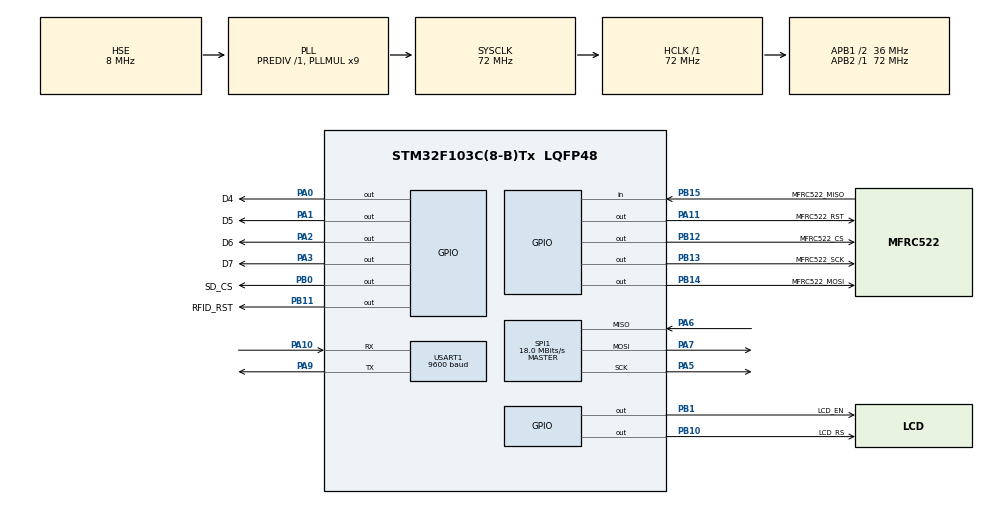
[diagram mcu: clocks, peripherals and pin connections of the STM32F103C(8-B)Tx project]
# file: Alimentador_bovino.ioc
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FATFS._FS_TINY=1
FATFS._MAX_SS=4096
FATFS._USE_LFN=1
Mcu.Family=STM32F1
Mcu.Name=STM32F103C(8-B)Tx
Mcu.Package=LQFP48
NVIC.PriorityGroup=NVIC_PRIORITYGROUP_4
PA0-WKUP.GPIO_Label=D4
PA0-WKUP.Signal=GPIO_Output
PA1.GPIO_Label=D5
PA1.Signal=GPIO_Output
PA10.Mode=Asynchronous
PA10.Signal=USART1_RX
PA11.GPIO_Label=MFRC522_RST
PA11.Signal=GPIO_Output
PA13.Mode=Serial_Wire
PA13.Signal=SYS_JTMS-SWDIO
PA14.Mode=Serial_Wire
PA14.Signal=SYS_JTCK-SWCLK
PA2.GPIO_Label=D6
PA2.Signal=GPIO_Output
PA3.GPIO_Label=D7
PA3.Signal=GPIO_Output
PA5.Mode=Full_Duplex_Master
PA5.Signal=SPI1_SCK
PA6.Mode=Full_Duplex_Master
PA6.Signal=SPI1_MISO
PA7.Mode=Full_Duplex_Master
PA7.Signal=SPI1_MOSI
PA9.Mode=Asynchronous
PA9.Signal=USART1_TX
PB0.GPIO_Label=SD_CS
PB0.Signal=GPIO_Output
PB1.GPIO_Label=LCD_EN
PB1.Signal=GPIO_Output
PB10.GPIO_Label=LCD_RS
PB10.Signal=GPIO_Output
PB11.GPIO_Label=RFID_RST
PB11.Signal=GPIO_Output
PB12.GPIO_Label=MFRC522_CS
PB12.Signal=GPIO_Output
PB13.GPIO_Label=MFRC522_SCK
PB13.Signal=GPIO_Output
PB14.GPIO_Label=MFRC522_MOSI
PB14.Signal=GPIO_Output
PB15.GPIO_Label=MFRC522_MISO
PB15.Signal=GPIO_Input
PC14-OSC32_IN.Mode=LSE-External-Oscillator
PC14-OSC32_IN.Signal=RCC_OSC32_IN
PC15-OSC32_OUT.Mode=LSE-External-Oscillator
PC15-OSC32_OUT.Signal=RCC_OSC32_OUT
PD0-OSC_IN.Mode=HSE-External-Oscillator
PD0-OSC_IN.Signal=RCC_OSC_IN
PD1-OSC_OUT.Mode=HSE-External-Oscillator
PD1-OSC_OUT.Signal=RCC_OSC_OUT
ProjectManager.HeapSize=0x200
ProjectManager.StackSize=0x400
ProjectManager.TargetToolchain=STM32CubeIDE
RCC.AHBFreq_Value=72000000
RCC.APB1CLKDivider=RCC_HCLK_DIV2
RCC.APB1Freq_Value=36000000
RCC.APB1TimFreq_Value=72000000
RCC.APB2Freq_Value=72000000
RCC.APB2TimFreq_Value=72000000
RCC.HCLKFreq_Value=72000000
RCC.PLLMUL=RCC_PLL_MUL9
RCC.PLLSourceVirtual=RCC_PLLSOURCE_HSE
RCC.SYSCLKFreq_VALUE=72000000
RCC.SYSCLKSource=RCC_SYSCLKSOURCE_PLLCLK
RCC.USBFreq_Value=72000000
RTC.Hours=9
RTC.Minutes=30
RTC.WeekDay=RTC_WEEKDAY_WEDNESDAY
SPI1.BaudRatePrescaler=SPI_BAUDRATEPRESCALER_4
SPI1.CalculateBaudRate=18.0 MBits/s
SPI1.Direction=SPI_DIRECTION_2LINES
SPI1.Mode=SPI_MODE_MASTER
SPI1.VirtualType=VM_MASTER
USART1.BaudRate=9600
USART1.VirtualMode=VM_ASYNC
VP_FATFS_VS_Generic.Mode=User_defined
VP_RTC_VS_RTC_Activate.Mode=RTC_Enabled
VP_RTC_VS_RTC_Calendar.Mode=RTC_Calendar
board=custom

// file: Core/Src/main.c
/* USER CODE BEGIN Header */
/**
  ******************************************************************************
  * @file           : main.c
  * @brief          : Main program body
  ******************************************************************************
  * @attention
  *
  * Copyright (c) 2023 STMicroelectronics.
  * All rights reserved.
  *
  * This software is licensed under terms that can be found in the LICENSE file
  * in the root directory of this software component.
  * If no LICENSE file comes with this software, it is provided AS-IS.
  *
  ******************************************************************************
  */
/* USER CODE END Header */
#include "main.h"
#include "fatfs.h"

/* USER CODE BEGIN Includes */
#include "fatfs_sd.h"
#include <stdio.h>
#include <stdlib.h>
#include <string.h>
#include "lcd.h"
#include "mfrc522.h"

/* USER CODE END Includes */

RTC_HandleTypeDef hrtc;

SPI_HandleTypeDef hspi1;

UART_HandleTypeDef huart1;

/* USER CODE BEGIN PV */
FATFS fs;  				// file system
FIL fil; 					// File
FILINFO fno;
FRESULT fresult;  // result
UINT br, bw;  		// File read/write count

/**** microSD capacity related *****/
FATFS *pfs;
DWORD fre_clust;

/*RFID*/
uint8_t UID[8];
uint8_t TagType;
char buf_tx[50];

/*Mis variables*/
char buffer[128];	//buffer to write/read in microSD
char arraydatos[128];
char buffer2[4096];
char arraydatos2[4096];
int imprimir=0;
char mostrar_var[6];
LCD_t lcd;
char tiempo[32]; //hora
int cont_lin=0; //contador de linea w
/* USER CODE END PV */

void SystemClock_Config(void);
static void MX_GPIO_Init(void);
static void MX_SPI1_Init(void);
static void MX_USART1_UART_Init(void);
static void MX_RTC_Init(void);
/* USER CODE BEGIN PFP */
static void bufclear(char *buf, uint16_t len);
//static void send_uart(char *string);
static void microSD_init(void);
//static void microSD_getSize(void);
static void microSD_put(char *name);
static void microSD_get(char *name);
void mostrarLCD(void);
void Alimentar(void);
void Identidicacion(void);
void Menu(void);
void hora(void);
/* USER CODE END PFP */

int main(void)
{
  /* USER CODE BEGIN 1 */
	int opcion1=0;
	int opcion2=0;

  /* USER CODE END 1 */

  /* MCU Configuration--------------------------------------------------------*/

  /* Reset of all peripherals, Initializes the Flash interface and the Systick. */
  HAL_Init();

  /* Configure the system clock */
  SystemClock_Config();

  /* Initialize all configured peripherals */
  MX_GPIO_Init();
  MX_SPI1_Init();
  MX_FATFS_Init();
  MX_USART1_UART_Init();
  MX_RTC_Init();
  /* USER CODE BEGIN 2 */

	// LCD SETTINGS ----------------------------------------------
	lcd.RS_port = LCD_RS_GPIO_Port;
	lcd.RS_pin = LCD_RS_Pin;
	//lcd.RW_port = LCD_RW_GPIO_Port;
	//lcd.RW_pin = LCD_RW_Pin;
	lcd.EN_port = LCD_EN_GPIO_Port;
	lcd.EN_pin = LCD_EN_Pin;
	lcd.D4_port = D4_GPIO_Port;
	lcd.D4_pin = D4_Pin;
	lcd.D5_port = D5_GPIO_Port;
	lcd.D5_pin = D5_Pin;
	lcd.D6_port = D6_GPIO_Port;
	lcd.D6_pin = D6_Pin;
	lcd.D7_port = D7_GPIO_Port;
	lcd.D7_pin = D7_Pin;
	//Inicializamos el LCD
	lcd_begin(&lcd, 16, 2, LCD_5x8DOTS);
	imprimir=1;
	mostrarLCD();
	//Inicializo microSD
	microSD_init();
	//Inicializo RFID
	MFRC522_Init();

  /* USER CODE END 2 */

  /* Infinite loop */
  /* USER CODE BEGIN WHILE */
  while (1)
  {
	  opcion1=1;
	  switch(opcion1){
	  /* Menu */
	  case 1:
		  	Alimentar();
		  	opcion1=2;
	  		break;
	  case 2:
		  HAL_Delay(1500);
		  opcion1=0;
	  		break;
	  	   }

	  switch(opcion2){
	  /* Configuraciones */
	  case 1:
	  		break;
	  case 2:
	  		break;
	  case 3:
	  		break;
	  case 4:
	  		break;
	  	    }
    /* USER CODE END WHILE */

  }
}

void SystemClock_Config(void)
{
  RCC_OscInitTypeDef RCC_OscInitStruct = {0};
  RCC_ClkInitTypeDef RCC_ClkInitStruct = {0};
  RCC_PeriphCLKInitTypeDef PeriphClkInit = {0};

  /** Initializes the RCC Oscillators according to the specified parameters
  * in the RCC_OscInitTypeDef structure.
  */
  RCC_OscInitStruct.OscillatorType = RCC_OSCILLATORTYPE_LSI|RCC_OSCILLATORTYPE_HSE;
  RCC_OscInitStruct.HSEState = RCC_HSE_ON;
  RCC_OscInitStruct.HSEPredivValue = RCC_HSE_PREDIV_DIV1;
  RCC_OscInitStruct.HSIState = RCC_HSI_ON;
  RCC_OscInitStruct.LSIState = RCC_LSI_ON;
  RCC_OscInitStruct.PLL.PLLState = RCC_PLL_ON;
  RCC_OscInitStruct.PLL.PLLSource = RCC_PLLSOURCE_HSE;
  RCC_OscInitStruct.PLL.PLLMUL = RCC_PLL_MUL9;
  if (HAL_RCC_OscConfig(&RCC_OscInitStruct) != HAL_OK)
  {
    Error_Handler();
  }

  /** Initializes the CPU, AHB and APB buses clocks
  */
  RCC_ClkInitStruct.ClockType = RCC_CLOCKTYPE_HCLK|RCC_CLOCKTYPE_SYSCLK
                              |RCC_CLOCKTYPE_PCLK1|RCC_CLOCKTYPE_PCLK2;
  RCC_ClkInitStruct.SYSCLKSource = RCC_SYSCLKSOURCE_PLLCLK;
  RCC_ClkInitStruct.AHBCLKDivider = RCC_SYSCLK_DIV1;
  RCC_ClkInitStruct.APB1CLKDivider = RCC_HCLK_DIV2;
  RCC_ClkInitStruct.APB2CLKDivider = RCC_HCLK_DIV1;

  if (HAL_RCC_ClockConfig(&RCC_ClkInitStruct, FLASH_LATENCY_2) != HAL_OK)
  {
    Error_Handler();
  }
  PeriphClkInit.PeriphClockSelection = RCC_PERIPHCLK_RTC;
  PeriphClkInit.RTCClockSelection = RCC_RTCCLKSOURCE_LSI;
  if (HAL_RCCEx_PeriphCLKConfig(&PeriphClkInit) != HAL_OK)
  {
    Error_Handler();
  }
}

static void MX_RTC_Init(void)
{

  RTC_TimeTypeDef sTime = {0};
  RTC_DateTypeDef DateToUpdate = {0};

  /** Initialize RTC Only
  */
  hrtc.Instance = RTC;
  hrtc.Init.AsynchPrediv = RTC_AUTO_1_SECOND;
  hrtc.Init.OutPut = RTC_OUTPUTSOURCE_ALARM;
  if (HAL_RTC_Init(&hrtc) != HAL_OK)
  {
    Error_Handler();
  }

  /* USER CODE BEGIN Check_RTC_BKUP */
  HAL_PWR_EnableBkUpAccess();
  /* USER CODE END Check_RTC_BKUP */

  /** Initialize RTC and set the Time and Date
  */
  sTime.Hours = 0x9;
  sTime.Minutes = 0x30;
  sTime.Seconds = 0x0;

  if (HAL_RTC_SetTime(&hrtc, &sTime, RTC_FORMAT_BCD) != HAL_OK)
  {
    Error_Handler();
  }
  DateToUpdate.WeekDay = RTC_WEEKDAY_WEDNESDAY;
  DateToUpdate.Month = RTC_MONTH_JANUARY;
  DateToUpdate.Date = 0x1;
  DateToUpdate.Year = 0x0;

  if (HAL_RTC_SetDate(&hrtc, &DateToUpdate, RTC_FORMAT_BCD) != HAL_OK)
  {
    Error_Handler();
  }

}

static void MX_SPI1_Init(void)
{

  /* SPI1 parameter configuration*/
  hspi1.Instance = SPI1;
  hspi1.Init.Mode = SPI_MODE_MASTER;
  hspi1.Init.Direction = SPI_DIRECTION_2LINES;
  hspi1.Init.DataSize = SPI_DATASIZE_8BIT;
  hspi1.Init.CLKPolarity = SPI_POLARITY_LOW;
  hspi1.Init.CLKPhase = SPI_PHASE_1EDGE;
  hspi1.Init.NSS = SPI_NSS_SOFT;
  hspi1.Init.BaudRatePrescaler = SPI_BAUDRATEPRESCALER_4;
  hspi1.Init.FirstBit = SPI_FIRSTBIT_MSB;
  hspi1.Init.TIMode = SPI_TIMODE_DISABLE;
  hspi1.Init.CRCCalculation = SPI_CRCCALCULATION_DISABLE;
  hspi1.Init.CRCPolynomial = 10;
  if (HAL_SPI_Init(&hspi1) != HAL_OK)
  {
    Error_Handler();
  }

}

static void MX_USART1_UART_Init(void)
{

  huart1.Instance = USART1;
  huart1.Init.BaudRate = 9600;
  huart1.Init.WordLength = UART_WORDLENGTH_8B;
  huart1.Init.StopBits = UART_STOPBITS_1;
  huart1.Init.Parity = UART_PARITY_NONE;
  huart1.Init.Mode = UART_MODE_TX_RX;
  huart1.Init.HwFlowCtl = UART_HWCONTROL_NONE;
  huart1.Init.OverSampling = UART_OVERSAMPLING_16;
  if (HAL_UART_Init(&huart1) != HAL_OK)
  {
    Error_Handler();
  }

}

static void MX_GPIO_Init(void)
{
  GPIO_InitTypeDef GPIO_InitStruct = {0};

  /* GPIO Ports Clock Enable */
  __HAL_RCC_GPIOC_CLK_ENABLE();
  __HAL_RCC_GPIOD_CLK_ENABLE();
  __HAL_RCC_GPIOA_CLK_ENABLE();
  __HAL_RCC_GPIOB_CLK_ENABLE();

  /*Configure GPIO pin Output Level */
  HAL_GPIO_WritePin(GPIOA, D4_Pin|D5_Pin|D6_Pin|D7_Pin
                          |MFRC522_RST_Pin, GPIO_PIN_RESET);

  /*Configure GPIO pin Output Level */
  HAL_GPIO_WritePin(GPIOB, SD_CS_Pin|LCD_EN_Pin|LCD_RS_Pin|RFID_RST_Pin
                          |MFRC522_CS_Pin|MFRC522_SCK_Pin|MFRC522_MOSI_Pin, GPIO_PIN_RESET);

  /*Configure GPIO pins : D4_Pin D5_Pin D6_Pin D7_Pin
                           MFRC522_RST_Pin */
  GPIO_InitStruct.Pin = D4_Pin|D5_Pin|D6_Pin|D7_Pin
                          |MFRC522_RST_Pin;
  GPIO_InitStruct.Mode = GPIO_MODE_OUTPUT_PP;
  GPIO_InitStruct.Pull = GPIO_NOPULL;
  GPIO_InitStruct.Speed = GPIO_SPEED_FREQ_LOW;
  HAL_GPIO_Init(GPIOA, &GPIO_InitStruct);

  /*Configure GPIO pins : SD_CS_Pin LCD_EN_Pin LCD_RS_Pin RFID_RST_Pin
                           MFRC522_CS_Pin MFRC522_SCK_Pin MFRC522_MOSI_Pin */
  GPIO_InitStruct.Pin = SD_CS_Pin|LCD_EN_Pin|LCD_RS_Pin|RFID_RST_Pin
                          |MFRC522_CS_Pin|MFRC522_SCK_Pin|MFRC522_MOSI_Pin;
  GPIO_InitStruct.Mode = GPIO_MODE_OUTPUT_PP;
  GPIO_InitStruct.Pull = GPIO_NOPULL;
  GPIO_InitStruct.Speed = GPIO_SPEED_FREQ_LOW;
  HAL_GPIO_Init(GPIOB, &GPIO_InitStruct);

  /*Configure GPIO pin : MFRC522_MISO_Pin */
  GPIO_InitStruct.Pin = MFRC522_MISO_Pin;
  GPIO_InitStruct.Mode = GPIO_MODE_INPUT;
  GPIO_InitStruct.Pull = GPIO_NOPULL;
  HAL_GPIO_Init(MFRC522_MISO_GPIO_Port, &GPIO_InitStruct);

}

/* USER CODE BEGIN 4 */
void MI_Menu(void){

}
//funcion hora
void hora(void){
	RTC_TimeTypeDef sTime;
	RTC_DateTypeDef sDate;
	//RTC->CR |= RTC_CR_BYPSHAD;
	HAL_RTC_GetTime(&hrtc, &sTime, RTC_FORMAT_BIN);
	HAL_RTC_GetDate(&hrtc, &sDate, RTC_FORMAT_BIN);
	sprintf(tiempo,";Hora: %d:%d:%d", sTime.Hours, sTime.Minutes, sTime.Seconds);
}
//Funcion para limiar el buffer
static void bufclear(char *buf, uint16_t len) {
	for (int i = 0; i < len; i++) {
		buf[i] = '\0';
	}
}
//------------------------------------------------------------

/*static void send_uart(char *string) {
	uint8_t len = strlen(string);
	HAL_UART_Transmit(&huart1, (uint8_t*) string, len, 2000);
}*/
//------------------------------------------------------------

//Montamos el sistema de archivos
static void microSD_init(void) {
	fresult = f_mount(&fs, "/", 1);
	if (fresult != FR_OK){
		//send_uart("ERROR!!! montaje tarjeta microSD fallido...\n");
	}
	//else
		//send_uart("microSD CARD montada con exito\n");
		}

//guardamos informacion en la última posicion
static void microSD_put(char *name) {
	char num_linea[20];
	sprintf(num_linea,"\n %d Bovino:",cont_lin);
	cont_lin=cont_lin+1;
	//Open file to write/ create a file if it doesn't exist
	fresult = f_open(&fil, name,FA_OPEN_ALWAYS | FA_READ | FA_WRITE);
	//Move to offset to be the end of the file
	fresult = f_lseek (&fil, fil.fsize);
	//Write data
	f_puts(num_linea, &fil);
	f_puts(buf_tx, &fil);
	f_puts(tiempo, &fil);
	//Close file
	fresult = f_close(&fil);

	if (fresult == FR_OK) {
		//sprintf(buffer, "%s%s", name, " creado y los datos fueron escritos\n");
		//send_uart(buffer);
		}

	uint8_t len = strlen(buffer);
	bufclear(buffer, len);
}
//------------------------------------------------------------

static void microSD_get(char *name) {
	//Open file to read

	fresult = f_open(&fil, name, FA_READ);

	if (fresult == FR_OK) {
		//Read data from the file */
		//f_gets(buffer, f_size(&fil), &fil);
		f_read ( &fil, buffer2, fil.fsize, &br);
		strcpy(arraydatos2, buffer2);
		/* Close file */
		f_close(&fil);
		uint8_t len = strlen(buffer2);
		bufclear(buffer2, len);
		}
}
//------------------------------------------------------------
void mostrarLCD(void) {
	 switch(imprimir){
		  /* muestro en pantalla */
		  case 1:
			  	  //Mensaje de de inicio
			  		lcd_setCursor(&lcd, 0, 0);
			  		lcd_print(&lcd, "Sistemas Microprogramables");
			  		HAL_Delay(1500);
			  		for (int i = 0; i < 10; ++i) {
			  			lcd_scrollDisplayLeft(&lcd);
			  			HAL_Delay(400);
			  					  		}
			  		HAL_Delay(1000);
			  		lcd_clear(&lcd);
			  		lcd_home(&lcd);
			  		lcd_setCursor(&lcd, 4, 1);
			  		lcd_print(&lcd, "U.N.Ca.");
			  		HAL_Delay(2000);
			  		lcd_clear(&lcd);
			  		lcd_home(&lcd);
			  		lcd_setCursor(&lcd, 0, 0);
			  		lcd_print(&lcd, "Iniciando");
			  		HAL_Delay(1500);
			  		lcd_clear(&lcd);
			  		lcd_home(&lcd);
			  		imprimir=0;
		  		break;
		  case 2:
			  	  lcd_clear(&lcd);
			  	  lcd_home(&lcd);
			  	  lcd_setCursor(&lcd, 0, 0);
			  	  lcd_print(&lcd, "Alimentando");
			  	  lcd_setCursor(&lcd, 0, 1);
			  	  lcd_print(&lcd, mostrar_var);
			  	  HAL_Delay(1500);
			  	  imprimir=0;
		  		break;
		  case 3:
			  	  lcd_clear(&lcd);
			  	  lcd_home(&lcd);
			  	  lcd_setCursor(&lcd, 0, 0);
			  	  lcd_print(&lcd, mostrar_var);
			  	  lcd_setCursor(&lcd, 0, 1);
			  	  lcd_print(&lcd, "NO DAR DE ALIMENTAR");
			  	  HAL_Delay(1500);
			  	  imprimir=0;
		  		break;
		  case 4:
			  	  lcd_clear(&lcd);
			  	  lcd_home(&lcd);
			  	  lcd_setCursor(&lcd, 0, 0);
			  	  lcd_print(&lcd, "En Marcha");
			  	  HAL_Delay(1500);
			  	  imprimir=0;
		  		break;
		  case 5:
			  	  lcd_clear(&lcd);
			  	  lcd_home(&lcd);
			  	  lcd_setCursor(&lcd, 0, 0);
			  	  lcd_print(&lcd, "Identificando");
			  	  lcd_setCursor(&lcd, 0, 1);
			  	  lcd_print(&lcd, buf_tx);
			  	  HAL_Delay(2000);
			  	  imprimir=0;
			  	break;
		  case 6:
			  	  lcd_clear(&lcd);
			  	  lcd_home(&lcd);
			  	  lcd_setCursor(&lcd, 0, 0);
			  	  lcd_print(&lcd, "No hay tarjeta");
			  	  HAL_Delay(1500);
			  	  imprimir=0;
		  			  	break;

		  	    }

	}
void Identidicacion(void){
char UID_char[8];
//char Tag_char;
	if(MFRC522_IsCard(&TagType))
		{

			if(MFRC522_ReadCardSerial((uint8_t*)&UID))
				{
				sprintf(buf_tx, " ID: ");
				for(uint8_t i=0; i<4; i++){
					utoa(UID[i],&UID_char[i],16);}
				sprintf(buf_tx,UID_char);
				hora();
				HAL_Delay(10);
				microSD_put("Bovino_tiempo.txt");
				imprimir=5;
				mostrarLCD();
				}
			MFRC522_Halt();
		}
	}
void Alimentar(void){
	imprimir=4;
	mostrarLCD();
	Identidicacion();
	microSD_get("Bovino_tiempo.txt");
	}
/* USER CODE END 4 */

void Error_Handler(void)
{
  __disable_irq();
  while (1)
  {
  }
}
